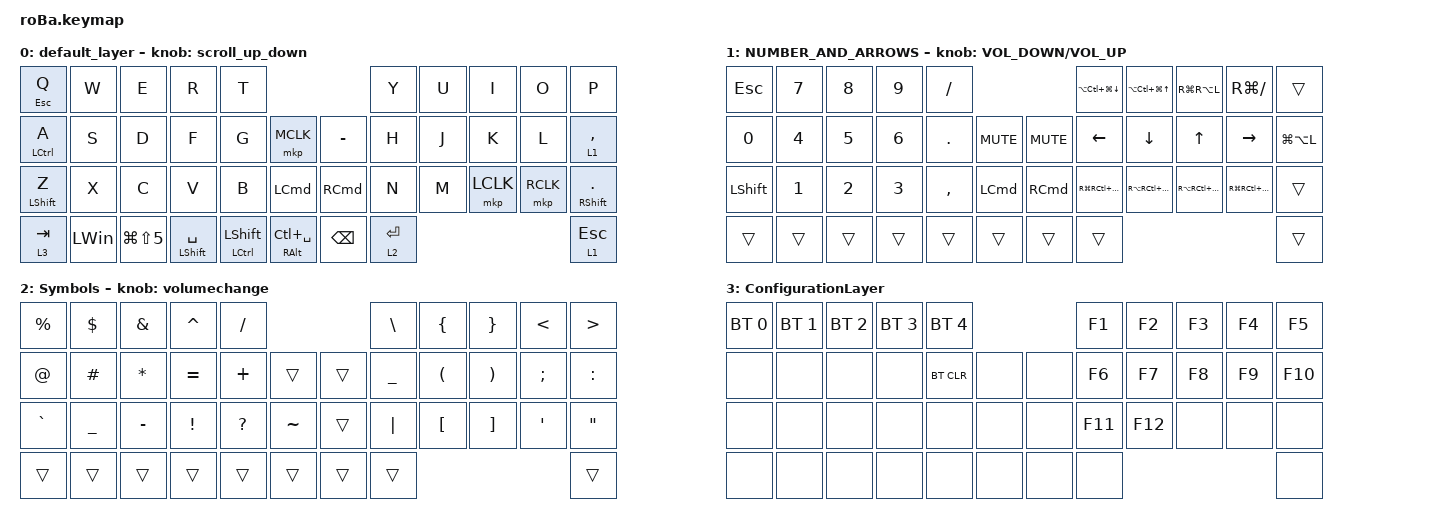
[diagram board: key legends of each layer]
#include <behaviors.dtsi>
#include <dt-bindings/zmk/bt.h>
#include <dt-bindings/zmk/keys.h>
#include <dt-bindings/zmk/pointing.h>

#define ZMK_POINTING_DEFAULT_SCRL_VAL 100
#define MOUSE 4
#define SCROLL 5
#define NUM 6

&mt {
    tapping-term-ms = <220>;
    flavor = "tap-preferred";
};

/ {
    combos {
        compatible = "zmk,combos";

        tab {
            bindings = <&kp TAB>;
            key-positions = <11 12>;
        };

        shift_tab {
            bindings = <&kp LS(TAB)>;
            key-positions = <12 13>;
        };

        double_quotation {
            bindings = <&kp DOUBLE_QUOTES>;
            key-positions = <20 21>;
        };

        eq {
            bindings = <&kp EQUAL>;
            key-positions = <24 25>;
        };

        Escape {
            bindings = <&kp ESCAPE>;
            key-positions = <0 1>;
        };
    };

    behaviors {
        scroll_up_down: behavior_sensor_rotate_mouse_wheel_up_down {
            compatible = "zmk,behavior-sensor-rotate";
            #sensor-binding-cells = <0>;
            bindings = <&msc SCRL_DOWN>, <&msc SCRL_UP>;

            tap-ms = <20>;
        };

        mouse_scroll_behavior_h: mouse_scroll_behavior_h {
            compatible = "zmk,behavior-sensor-rotate";
            label = "MOUSE_SCROLL_BEHAVIOR_H";
            #sensor-binding-cells = <0>;
            bindings = <&msc SCRL_LEFT>, <&msc SCRL_RIGHT>;

            tap-ms = <250>;
        };

        volumechange: volumechange {
            compatible = "zmk,behavior-sensor-rotate";
            label = "VOLUMECHANGE";
            #sensor-binding-cells = <0>;
            bindings = <&kp C_VOLUME_UP>, <&kp C_VOLUME_DOWN>;
        };

        verticalScroll: verticalScroll {
            compatible = "zmk,behavior-sensor-rotate";
            label = "VERTICALSCROLL";
            #sensor-binding-cells = <0>;
            bindings = <&msc SCRL_UP>, <&msc SCRL_DOWN>;

            tap-ms = <500>;
        };
    };

    macros {
        shift_double_tap: shift_double_tap {
            compatible = "zmk,behavior-macro";
            #binding-cells = <0>;
            bindings = <&kp LEFT_SHIFT &kp LEFT_SHIFT>;
            label = "SHIFT_DOUBLE_TAP";
        };
    };

    keymap {
        compatible = "zmk,keymap";

        default_layer {
            bindings = <
&mt ESCAPE Q      &kp W         &kp E           &kp R                 &kp T                                                                 &kp Y        &kp U  &kp I      &kp O      &kp P
&mt LCTRL A       &kp S         &kp D           &kp F                 &kp G                 &mkp MCLK                    &kp MINUS          &kp H        &kp J  &kp K      &kp L      &lt 1 COMMA
&mt LEFT_SHIFT Z  &kp X         &kp C           &kp V                 &kp B                 &kp LEFT_COMMAND             &kp RIGHT_COMMAND  &kp N        &kp M  &mkp LCLK  &mkp RCLK  &mt RIGHT_SHIFT PERIOD
&lt 3 TAB         &kp LEFT_WIN  &kp LG(LS(N5))  &mt LEFT_SHIFT SPACE  &mt LCTRL LEFT_SHIFT  &mt RIGHT_ALT LC(SPACE)      &kp BACKSPACE      &lt 2 ENTER                               &lt 1 ESCAPE
            >;

            sensor-bindings = <&scroll_up_down>;
        };

        NUMBER_AND_ARROWS {
            bindings = <
&kp ESCAPE      &kp N7  &kp N8  &kp N9  &kp SLASH                                           &kp LA(LC(LG(DOWN_ARROW)))  &kp LA(LC(LG(UP_ARROW)))     &kp RG(RA(L))      &kp RG(SLASH)      &trans
&kp N0          &kp N4  &kp N5  &kp N6  &kp DOT    &kp K_MUTE            &kp K_MUTE         &kp LEFT_ARROW              &kp DOWN                     &kp UP_ARROW       &kp RIGHT          &kp LG(LA(L))
&kp LEFT_SHIFT  &kp N1  &kp N2  &kp N3  &kp COMMA  &kp LEFT_COMMAND      &kp RIGHT_COMMAND  &kp RG(RC(RA(LEFT_ARROW)))  &kp RA(RC(RG(RIGHT_ARROW)))  &kp RA(RC(RG(M)))  &kp RG(RC(RA(N)))  &trans
&trans          &trans  &trans  &trans  &trans     &trans                &trans             &trans                                                                                         &trans
            >;

            sensor-bindings = <&inc_dec_kp C_VOLUME_DOWN C_VOLUME_UP>;
        };

        Symbols {
            bindings = <
&kp PERCENT  &kp DOLLAR  &kp AMPERSAND  &kp CARET        &kp SLASH                            &kp BACKSLASH  &kp LEFT_BRACE        &kp RIGHT_BRACE        &kp LESS_THAN     &kp GREATER_THAN
&kp AT_SIGN  &kp HASH    &kp STAR       &kp EQUAL        &kp PLUS      &trans         &trans  &kp UNDER      &kp LEFT_PARENTHESIS  &kp RIGHT_PARENTHESIS  &kp SEMICOLON     &kp COLON
&kp GRAVE    &kp UNDER   &kp MINUS      &kp EXCLAMATION  &kp QUESTION  &kp TILDE      &trans  &kp PIPE       &kp LEFT_BRACKET      &kp RIGHT_BRACKET      &kp SINGLE_QUOTE  &kp DOUBLE_QUOTES
&trans       &trans      &trans         &trans           &trans        &trans         &trans  &trans                                                                        &trans
            >;

            sensor-bindings = <&volumechange>;
        };

        ConfigurationLayer {
            bindings = <
&bt BT_SEL 0  &bt BT_SEL 1  &bt BT_SEL 2  &bt BT_SEL 3  &bt BT_SEL 4                    &kp F1   &kp F2   &kp F3  &kp F4  &kp F5
&none         &none         &none         &none         &bt BT_CLR    &none      &none  &kp F6   &kp F7   &kp F8  &kp F9  &kp F10
&none         &none         &none         &none         &none         &none      &none  &kp F11  &kp F12  &none   &none   &none
&none         &none         &none         &none         &none         &none      &none  &none                             &none
            >;
        };
    };
};
